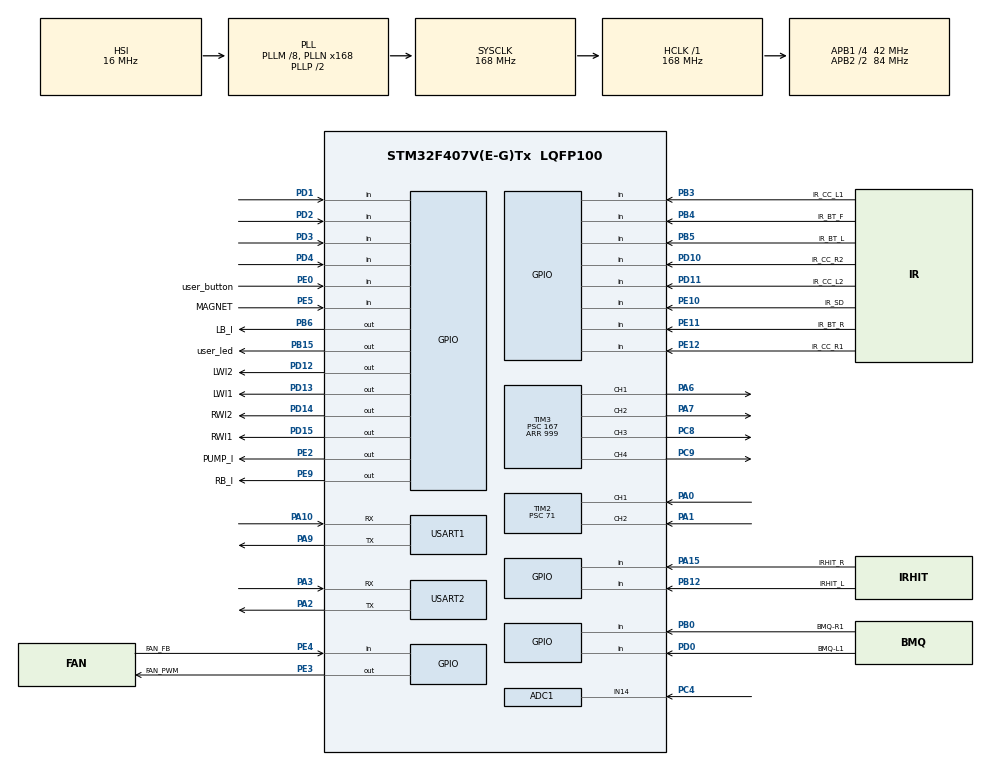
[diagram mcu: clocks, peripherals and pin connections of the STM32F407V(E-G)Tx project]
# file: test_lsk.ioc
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ADC1.Channel-0\#ChannelRegularConversion=ADC_CHANNEL_14
ADC1.ContinuousConvMode=ENABLE
ADC1.NbrOfConversionFlag=1
ADC1.Rank-0\#ChannelRegularConversion=1
ADC1.SamplingTime-0\#ChannelRegularConversion=ADC_SAMPLETIME_3CYCLES
ADC1.master=1
Dma.ADC1.0.Direction=DMA_PERIPH_TO_MEMORY
Dma.ADC1.0.FIFOMode=DMA_FIFOMODE_DISABLE
Dma.ADC1.0.Instance=DMA2_Stream0
Dma.ADC1.0.MemDataAlignment=DMA_MDATAALIGN_HALFWORD
Dma.ADC1.0.MemInc=DMA_MINC_ENABLE
Dma.ADC1.0.Mode=DMA_NORMAL
Dma.ADC1.0.PeriphDataAlignment=DMA_PDATAALIGN_HALFWORD
Dma.ADC1.0.PeriphInc=DMA_PINC_DISABLE
Dma.ADC1.0.Priority=DMA_PRIORITY_MEDIUM
Dma.Request0=ADC1
Dma.Request1=USART1_RX
Dma.Request2=USART1_TX
Dma.Request3=USART2_RX
Dma.Request4=USART2_TX
Dma.USART1_RX.1.Direction=DMA_PERIPH_TO_MEMORY
Dma.USART1_RX.1.FIFOMode=DMA_FIFOMODE_DISABLE
Dma.USART1_RX.1.Instance=DMA2_Stream2
Dma.USART1_RX.1.MemDataAlignment=DMA_MDATAALIGN_BYTE
Dma.USART1_RX.1.MemInc=DMA_MINC_ENABLE
Dma.USART1_RX.1.Mode=DMA_CIRCULAR
Dma.USART1_RX.1.PeriphDataAlignment=DMA_PDATAALIGN_BYTE
Dma.USART1_RX.1.PeriphInc=DMA_PINC_DISABLE
Dma.USART1_RX.1.Priority=DMA_PRIORITY_HIGH
Dma.USART1_TX.2.Direction=DMA_MEMORY_TO_PERIPH
Dma.USART1_TX.2.FIFOMode=DMA_FIFOMODE_DISABLE
Dma.USART1_TX.2.Instance=DMA2_Stream7
Dma.USART1_TX.2.MemDataAlignment=DMA_MDATAALIGN_BYTE
Dma.USART1_TX.2.MemInc=DMA_MINC_ENABLE
Dma.USART1_TX.2.Mode=DMA_CIRCULAR
Dma.USART1_TX.2.PeriphDataAlignment=DMA_PDATAALIGN_BYTE
Dma.USART1_TX.2.PeriphInc=DMA_PINC_DISABLE
Dma.USART1_TX.2.Priority=DMA_PRIORITY_HIGH
Dma.USART2_RX.3.Direction=DMA_PERIPH_TO_MEMORY
Dma.USART2_RX.3.FIFOMode=DMA_FIFOMODE_DISABLE
Dma.USART2_RX.3.Instance=DMA1_Stream5
Dma.USART2_RX.3.MemDataAlignment=DMA_MDATAALIGN_BYTE
Dma.USART2_RX.3.MemInc=DMA_MINC_ENABLE
Dma.USART2_RX.3.Mode=DMA_NORMAL
Dma.USART2_RX.3.PeriphDataAlignment=DMA_PDATAALIGN_BYTE
Dma.USART2_RX.3.PeriphInc=DMA_PINC_DISABLE
Dma.USART2_RX.3.Priority=DMA_PRIORITY_VERY_HIGH
Dma.USART2_TX.4.Direction=DMA_MEMORY_TO_PERIPH
Dma.USART2_TX.4.FIFOMode=DMA_FIFOMODE_DISABLE
Dma.USART2_TX.4.Instance=DMA1_Stream6
Dma.USART2_TX.4.MemDataAlignment=DMA_MDATAALIGN_BYTE
Dma.USART2_TX.4.MemInc=DMA_MINC_ENABLE
Dma.USART2_TX.4.Mode=DMA_NORMAL
Dma.USART2_TX.4.PeriphDataAlignment=DMA_PDATAALIGN_BYTE
Dma.USART2_TX.4.PeriphInc=DMA_PINC_DISABLE
Dma.USART2_TX.4.Priority=DMA_PRIORITY_VERY_HIGH
FREERTOS.Tasks01=defaultTask,0,128,StartDefaultTask,Default,NULL,Dynamic,NULL,NULL;Motor,2,512,Motor_Task,Default,NULL,Dynamic,NULL,NULL;IMU,3,512,IMU_Task,Default,NULL,Dynamic,NULL,NULL;Brush,0,128,Brush_Task,Default,NULL,Dynamic,NULL,NULL;Pump,0,128,Pump_Task,Default,NULL,Dynamic,NULL,NULL;Fan,0,128,Fan_Task,Default,NULL,Dynamic,NULL,NULL;Crash,2,128,Crash_Task,Default,NULL,Dynamic,NULL,NULL;Battery,1,128,Battery_Task,Default,NULL,Dynamic,NULL,NULL
Mcu.Family=STM32F4
Mcu.Name=STM32F407V(E-G)Tx
Mcu.Package=LQFP100
NVIC.ADC_IRQn=true\:5\:0\:false\:false\:true\:true\:true\:true\:true
NVIC.DMA1_Stream5_IRQn=true\:5\:0\:false\:false\:true\:true\:false\:true\:true
NVIC.DMA1_Stream6_IRQn=true\:5\:0\:false\:false\:true\:true\:false\:true\:true
NVIC.DMA2_Stream0_IRQn=true\:5\:0\:false\:false\:true\:true\:false\:true\:true
NVIC.DMA2_Stream2_IRQn=true\:5\:0\:false\:false\:true\:true\:false\:true\:true
NVIC.DMA2_Stream7_IRQn=true\:5\:0\:false\:false\:true\:true\:false\:true\:true
NVIC.PriorityGroup=NVIC_PRIORITYGROUP_4
NVIC.TIM1_UP_TIM10_IRQn=true\:15\:0\:false\:false\:true\:false\:false\:true\:true
NVIC.TIM2_IRQn=true\:5\:0\:false\:false\:true\:true\:true\:true\:true
NVIC.TIM3_IRQn=true\:5\:0\:false\:false\:true\:true\:true\:true\:true
NVIC.TimeBase=TIM1_UP_TIM10_IRQn
NVIC.TimeBaseIP=TIM1
NVIC.USART1_IRQn=true\:5\:0\:false\:false\:true\:true\:true\:true\:true
NVIC.USART2_IRQn=true\:5\:0\:false\:false\:true\:true\:true\:true\:true
PA0-WKUP.Signal=S_TIM2_CH1_ETR
PA1.Signal=S_TIM2_CH2
PA10.Mode=Asynchronous
PA10.Signal=USART1_RX
PA13.Mode=Serial_Wire
PA13.Signal=SYS_JTMS-SWDIO
PA14.Mode=Serial_Wire
PA14.Signal=SYS_JTCK-SWCLK
PA15.GPIO_Label=IRHIT_R
PA15.Signal=GPIO_Input
PA2.Mode=Asynchronous
PA2.Signal=USART2_TX
PA3.Mode=Asynchronous
PA3.Signal=USART2_RX
PA6.Signal=S_TIM3_CH1
PA7.Signal=S_TIM3_CH2
PA9.Mode=Asynchronous
PA9.Signal=USART1_TX
PB0.GPIO_Label=BMQ-R1
PB0.Signal=GPIO_Input
PB12.GPIO_Label=IRHIT_L
PB12.Signal=GPIO_Input
PB15.GPIO_Label=user_led
PB15.Signal=GPIO_Output
PB3.GPIO_Label=IR_CC_L1
PB3.Signal=GPIO_Input
PB4.GPIO_Label=IR_BT_F
PB4.Signal=GPIO_Input
PB5.GPIO_Label=IR_BT_L
PB5.Signal=GPIO_Input
PB6.GPIO_Label=LB_I
PB6.GPIO_Speed=GPIO_SPEED_FREQ_HIGH
PB6.Signal=GPIO_Output
PC4.Signal=ADCx_IN14
PC8.Signal=S_TIM3_CH3
PC9.Signal=S_TIM3_CH4
PD0.GPIO_Label=BMQ-L1
PD0.Signal=GPIO_Input
PD1.Signal=GPIO_Input
PD10.GPIO_Label=IR_CC_R2
PD10.GPIO_PuPd=GPIO_PULLUP
PD10.Signal=GPIO_Input
PD11.GPIO_Label=IR_CC_L2
PD11.GPIO_PuPd=GPIO_PULLUP
PD11.Signal=GPIO_Input
PD12.GPIO_Label=LWI2
PD12.GPIO_Speed=GPIO_SPEED_FREQ_HIGH
PD12.Signal=GPIO_Output
PD13.GPIO_Label=LWI1
PD13.GPIO_Speed=GPIO_SPEED_FREQ_HIGH
PD13.Signal=GPIO_Output
PD14.GPIO_Label=RWI2
PD14.GPIO_Speed=GPIO_SPEED_FREQ_HIGH
PD14.Signal=GPIO_Output
PD15.GPIO_Label=RWI1
PD15.GPIO_Speed=GPIO_SPEED_FREQ_HIGH
PD15.Signal=GPIO_Output
PD2.Signal=GPIO_Input
PD3.Signal=GPIO_Input
PD4.Signal=GPIO_Input
PE0.GPIO_Label=user_button
PE0.GPIO_PuPd=GPIO_PULLDOWN
PE0.Signal=GPIO_Input
PE10.GPIO_Label=IR_SD
PE10.Signal=GPIO_Input
PE11.GPIO_Label=IR_BT_R
PE11.Signal=GPIO_Input
PE12.GPIO_Label=IR_CC_R1
PE12.Signal=GPIO_Input
PE2.GPIO_Label=PUMP_I
PE2.GPIO_Speed=GPIO_SPEED_FREQ_HIGH
PE2.Signal=GPIO_Output
PE3.GPIO_Label=FAN_PWM
PE3.GPIO_Speed=GPIO_SPEED_FREQ_HIGH
PE3.Signal=GPIO_Output
PE4.GPIO_Label=FAN_FB
PE4.Signal=GPIO_Input
PE5.GPIO_Label=MAGNET
PE5.Signal=GPIO_Input
PE9.GPIO_Label=RB_I
PE9.GPIO_Speed=GPIO_SPEED_FREQ_HIGH
PE9.Signal=GPIO_Output
PH0-OSC_IN.Mode=HSE-External-Oscillator
PH0-OSC_IN.Signal=RCC_OSC_IN
PH1-OSC_OUT.Mode=HSE-External-Oscillator
PH1-OSC_OUT.Signal=RCC_OSC_OUT
ProjectManager.HeapSize=0x200
ProjectManager.StackSize=0x400
ProjectManager.TargetToolchain=MDK-ARM V5.32
RCC.48MHZClocksFreq_Value=84000000
RCC.AHBFreq_Value=168000000
RCC.APB1CLKDivider=RCC_HCLK_DIV4
RCC.APB1Freq_Value=42000000
RCC.APB1TimFreq_Value=84000000
RCC.APB2CLKDivider=RCC_HCLK_DIV2
RCC.APB2Freq_Value=84000000
RCC.APB2TimFreq_Value=168000000
RCC.CortexFreq_Value=168000000
RCC.HCLKFreq_Value=168000000
RCC.HSE_VALUE=25000000
RCC.HSI_VALUE=16000000
RCC.LSE_VALUE=32768
RCC.PLLM=8
RCC.PLLN=168
RCC.SYSCLKFreq_VALUE=168000000
RCC.SYSCLKSource=RCC_SYSCLKSOURCE_PLLCLK
RCC.VCOOutputFreq_Value=336000000
SH.ADCx_IN14.0=ADC1_IN14,IN14
SH.S_TIM2_CH1_ETR.0=TIM2_CH1,Input_Capture1_from_TI1
SH.S_TIM2_CH2.0=TIM2_CH2,Input_Capture2_from_TI2
SH.S_TIM3_CH1.0=TIM3_CH1,PWM Generation1 CH1
SH.S_TIM3_CH2.0=TIM3_CH2,PWM Generation2 CH2
SH.S_TIM3_CH3.0=TIM3_CH3,PWM Generation3 CH3
SH.S_TIM3_CH4.0=TIM3_CH4,PWM Generation4 CH4
TIM2.Channel-Input_Capture1_from_TI1=TIM_CHANNEL_1
TIM2.Channel-Input_Capture2_from_TI2=TIM_CHANNEL_2
TIM2.Prescaler=71
TIM3.Channel-PWM\ Generation1\ CH1=TIM_CHANNEL_1
TIM3.Channel-PWM\ Generation2\ CH2=TIM_CHANNEL_2
TIM3.Channel-PWM\ Generation3\ CH3=TIM_CHANNEL_3
TIM3.Channel-PWM\ Generation4\ CH4=TIM_CHANNEL_4
TIM3.Period=999
TIM3.Prescaler=167
TIM3.Pulse-PWM\ Generation1\ CH1=\t500
TIM3.Pulse-PWM\ Generation2\ CH2=\t500
TIM3.Pulse-PWM\ Generation3\ CH3=500
TIM3.Pulse-PWM\ Generation4\ CH4=\t500
USART1.VirtualMode=VM_ASYNC
USART2.VirtualMode=VM_ASYNC
VP_FREERTOS_VS_CMSIS_V1.Mode=CMSIS_V1
VP_SYS_VS_tim1.Mode=TIM1
VP_TIM2_VS_ClockSourceINT.Mode=Internal
VP_TIM3_VS_ClockSourceINT.Mode=Internal
board=custom

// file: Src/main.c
/* USER CODE BEGIN Header */
/**
  ******************************************************************************
  * @file           : main.c
  * @brief          : Main program body
  ******************************************************************************
  * @attention
  *
  * Copyright (c) 2025 STMicroelectronics.
  * All rights reserved.
  *
  * This software is licensed under terms that can be found in the LICENSE file
  * in the root directory of this software component.
  * If no LICENSE file comes with this software, it is provided AS-IS.
  *
  ******************************************************************************
  */
/* USER CODE END Header */
#include "main.h"
#include "cmsis_os.h"
#include "adc.h"
#include "dma.h"
#include "tim.h"
#include "usart.h"
#include "gpio.h"

/* USER CODE BEGIN Includes */
#include "atk_ms601m.h"
#include "atk_ms601m_uart.h"
#include "device_control.h"
#include "motor_control.h"
#include "fan_control.h"
#include "imu.h"
#include "cmsis_os.h"
#include <stdio.h>  //printf
#include "tim_callback.h"

/* USER CODE END Includes */

/* USER CODE BEGIN PV */
/* USER CODE BEGIN PV */
volatile uint32_t last_capture_ch1 = 0;
volatile uint32_t pulse_interval_ch1 = 0;
volatile float motor_speed_rps_ch1 = 0.0f;

volatile uint32_t last_capture_ch2 = 0;
volatile uint32_t pulse_interval_ch2 = 0;
volatile float motor_speed_rps_ch2 = 0.0f;
                  // 替换为你编码器实际脉冲数
/* USER CODE END PV */

void SystemClock_Config(void);
void MX_FREERTOS_Init(void);
/* USER CODE BEGIN PFP */
int fputc(int ch, FILE *f)//重构函数
{
    HAL_UART_Transmit(&huart2, (uint8_t *)&ch, 1, HAL_MAX_DELAY);
    return ch;
}
/* USER CODE END PFP */

/* USER CODE BEGIN 0 */
uint8_t rx_byte;

/* USER CODE END 0 */

int main(void)
{

  /* MCU Configuration--------------------------------------------------------*/

  /* Reset of all peripherals, Initializes the Flash interface and the Systick. */
  HAL_Init();

  /* USER CODE BEGIN Init */
	DWT_Init();
  /* USER CODE END Init */

  /* Configure the system clock */
  SystemClock_Config();

  /* Initialize all configured peripherals */
  MX_GPIO_Init();
  MX_DMA_Init();
  MX_TIM3_Init();
  MX_USART1_UART_Init();
  MX_USART2_UART_Init();
  MX_ADC1_Init();
  MX_TIM2_Init();
  /* USER CODE BEGIN 2 */
	printf("init complete\n");

	HAL_UART_Receive_IT(&huart1, &rx_byte, 1);
	HAL_GPIO_WritePin(user_led_GPIO_Port, user_led_Pin, GPIO_PIN_SET);
	USART2_UART_StartDMA();  // ����DMA����
	// 启动输入捕获中断
    HAL_TIM_IC_Start_IT(&htim2, TIM_CHANNEL_1);//左侧
		HAL_TIM_IC_Start_IT(&htim2, TIM_CHANNEL_2);//右侧
  /* USER CODE END 2 */

  /* Call init function for freertos objects (in cmsis_os2.c) */
  MX_FREERTOS_Init();

  /* Start scheduler */
  osKernelStart();

  /* We should never get here as control is now taken by the scheduler */

  /* Infinite loop */
  while (1)
  {

  }
}

void SystemClock_Config(void)
{
  RCC_OscInitTypeDef RCC_OscInitStruct = {0};
  RCC_ClkInitTypeDef RCC_ClkInitStruct = {0};

  /** Configure the main internal regulator output voltage
  */
  __HAL_RCC_PWR_CLK_ENABLE();
  __HAL_PWR_VOLTAGESCALING_CONFIG(PWR_REGULATOR_VOLTAGE_SCALE1);

  /** Initializes the RCC Oscillators according to the specified parameters
  * in the RCC_OscInitTypeDef structure.
  */
  RCC_OscInitStruct.OscillatorType = RCC_OSCILLATORTYPE_HSI;
  RCC_OscInitStruct.HSIState = RCC_HSI_ON;
  RCC_OscInitStruct.HSICalibrationValue = RCC_HSICALIBRATION_DEFAULT;
  RCC_OscInitStruct.PLL.PLLState = RCC_PLL_ON;
  RCC_OscInitStruct.PLL.PLLSource = RCC_PLLSOURCE_HSI;
  RCC_OscInitStruct.PLL.PLLM = 8;
  RCC_OscInitStruct.PLL.PLLN = 168;
  RCC_OscInitStruct.PLL.PLLP = RCC_PLLP_DIV2;
  RCC_OscInitStruct.PLL.PLLQ = 4;
  if (HAL_RCC_OscConfig(&RCC_OscInitStruct) != HAL_OK)
  {
    Error_Handler();
  }

  /** Initializes the CPU, AHB and APB buses clocks
  */
  RCC_ClkInitStruct.ClockType = RCC_CLOCKTYPE_HCLK|RCC_CLOCKTYPE_SYSCLK
                              |RCC_CLOCKTYPE_PCLK1|RCC_CLOCKTYPE_PCLK2;
  RCC_ClkInitStruct.SYSCLKSource = RCC_SYSCLKSOURCE_PLLCLK;
  RCC_ClkInitStruct.AHBCLKDivider = RCC_SYSCLK_DIV1;
  RCC_ClkInitStruct.APB1CLKDivider = RCC_HCLK_DIV4;
  RCC_ClkInitStruct.APB2CLKDivider = RCC_HCLK_DIV2;

  if (HAL_RCC_ClockConfig(&RCC_ClkInitStruct, FLASH_LATENCY_5) != HAL_OK)
  {
    Error_Handler();
  }
}

void HAL_TIM_PeriodElapsedCallback(TIM_HandleTypeDef *htim)
{
  if (htim->Instance == TIM1) {
    HAL_IncTick();
  }
}

void Error_Handler(void)
{
  /* USER CODE BEGIN Error_Handler_Debug */
  /* User can add his own implementation to report the HAL error return state */
  __disable_irq();
	printf("error");
  while (1)
  {
		HAL_GPIO_TogglePin(user_led_GPIO_Port, user_led_Pin);
        HAL_Delay(500); /* ����ʱ LED ��˸ */
  }
  /* USER CODE END Error_Handler_Debug */
}

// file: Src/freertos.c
/* USER CODE BEGIN Header */
/**
  ******************************************************************************
  * File Name          : freertos.c
  * Description        : Code for freertos applications
  ******************************************************************************
  * @attention
  *
  * Copyright (c) 2025 STMicroelectronics.
  * All rights reserved.
  *
  * This software is licensed under terms that can be found in the LICENSE file
  * in the root directory of this software component.
  * If no LICENSE file comes with this software, it is provided AS-IS.
  *
  ******************************************************************************
  */
/* USER CODE END Header */

#include "FreeRTOS.h"
#include "task.h"
#include "main.h"
#include "cmsis_os.h"

/* USER CODE BEGIN Includes */
#include "uart_send.h"
#define UART2_QUEUE_LEN 10
//extern osMessageQId uartQueueHandle;

/* USER CODE END Includes */

/* USER CODE BEGIN Variables */
//osThreadId UARTSendHandle;
// ������Ϣ���о����extern��
osMessageQId uart2_tx_queue;
/* USER CODE END Variables */
osThreadId defaultTaskHandle;
osThreadId MotorHandle;
osThreadId IMUHandle;
osThreadId BrushHandle;
osThreadId PumpHandle;
osThreadId FanHandle;
osThreadId CrashHandle;
osThreadId BatteryHandle;

/* USER CODE BEGIN FunctionPrototypes */
void uart2_tx_task(void const * argument);
//extern void UART_Send_Task(void const * argument);
/* USER CODE END FunctionPrototypes */

void StartDefaultTask(void const * argument);
void Motor_Task(void const * argument);
void IMU_Task(void const * argument);
void Brush_Task(void const * argument);
void Pump_Task(void const * argument);
void Fan_Task(void const * argument);
void Crash_Task(void const * argument);
void Battery_Task(void const * argument);

void MX_FREERTOS_Init(void); /* (MISRA C 2004 rule 8.1) */

/* GetIdleTaskMemory prototype (linked to static allocation support) */
void vApplicationGetIdleTaskMemory( StaticTask_t **ppxIdleTaskTCBBuffer, StackType_t **ppxIdleTaskStackBuffer, uint32_t *pulIdleTaskStackSize );

/* USER CODE BEGIN GET_IDLE_TASK_MEMORY */
static StaticTask_t xIdleTaskTCBBuffer;
static StackType_t xIdleStack[configMINIMAL_STACK_SIZE];

void vApplicationGetIdleTaskMemory( StaticTask_t **ppxIdleTaskTCBBuffer, StackType_t **ppxIdleTaskStackBuffer, uint32_t *pulIdleTaskStackSize )
{
  *ppxIdleTaskTCBBuffer = &xIdleTaskTCBBuffer;
  *ppxIdleTaskStackBuffer = &xIdleStack[0];
  *pulIdleTaskStackSize = configMINIMAL_STACK_SIZE;
  /* place for user code */
}
/* USER CODE END GET_IDLE_TASK_MEMORY */

void MX_FREERTOS_Init(void) {

  /* USER CODE BEGIN RTOS_QUEUES */
 /* --- ������Ϣ���� --- */
  osMessageQDef(uart2_tx_queue_def, UART2_QUEUE_LEN, uint32_t);
  uart2_tx_queue = osMessageCreate(osMessageQ(uart2_tx_queue_def), NULL);
  /* add queues, ... */
//	osMessageQDef(uartQueue, UART_QUEUE_LEN, uint32_t);
//	uartQueueHandle = osMessageCreate(osMessageQ(uartQueue), NULL);

  /* USER CODE END RTOS_QUEUES */

  /* Create the thread(s) */
  /* definition and creation of defaultTask */
  osThreadDef(defaultTask, StartDefaultTask, osPriorityNormal, 0, 128);
  defaultTaskHandle = osThreadCreate(osThread(defaultTask), NULL);

  /* definition and creation of Motor */
  osThreadDef(Motor, Motor_Task, osPriorityHigh, 0, 512);
  MotorHandle = osThreadCreate(osThread(Motor), NULL);

  /* definition and creation of IMU */
  osThreadDef(IMU, IMU_Task, osPriorityRealtime, 0, 512);
  IMUHandle = osThreadCreate(osThread(IMU), NULL);

  /* definition and creation of Brush */
  osThreadDef(Brush, Brush_Task, osPriorityNormal, 0, 128);
  BrushHandle = osThreadCreate(osThread(Brush), NULL);

  /* definition and creation of Pump */
  osThreadDef(Pump, Pump_Task, osPriorityNormal, 0, 128);
  PumpHandle = osThreadCreate(osThread(Pump), NULL);

  /* definition and creation of Fan */
  osThreadDef(Fan, Fan_Task, osPriorityNormal, 0, 128);
  FanHandle = osThreadCreate(osThread(Fan), NULL);

  /* definition and creation of Crash */
  osThreadDef(Crash, Crash_Task, osPriorityHigh, 0, 128);
  CrashHandle = osThreadCreate(osThread(Crash), NULL);

  /* definition and creation of Battery */
  osThreadDef(Battery, Battery_Task, osPriorityAboveNormal, 0, 128);
  BatteryHandle = osThreadCreate(osThread(Battery), NULL);

  /* USER CODE BEGIN RTOS_THREADS */
	  osThreadDef(uart2TxTask, uart2_tx_task, osPriorityNormal, 0, 512);
  osThreadCreate(osThread(uart2TxTask), NULL);
  /* add threads, ... */
//	osThreadDef(UARTSend, UART_Send_Task, osPriorityNormal, 0, 512);
//	UARTSendHandle = osThreadCreate(osThread(UARTSend), NULL);

  /* USER CODE END RTOS_THREADS */

}

void StartDefaultTask(void const * argument)
{
  for(;;)
  {
    osDelay(1);
  }
}

//void Motor_Task(void const * argument)
//{
//  /* USER CODE BEGIN Motor_Task */
////////  /* Infinite loop */
////////  for(;;)
////////  {
////////    osDelay(1);
////////  }
//  /* USER CODE END Motor_Task */
//}

//void IMU_Task(void const * argument)
//{
//  /* USER CODE BEGIN IMU_Task */
////////  /* Infinite loop */
////////  for(;;)
////////  {
////////    osDelay(1);
////////  }
//  /* USER CODE END IMU_Task */
//}

//void Brush_Task(void const * argument)
//{
//  /* USER CODE BEGIN Brush_Task */
////////  /* Infinite loop */
////////  for(;;)
////////  {
////////    osDelay(1);
////////  }
//  /* USER CODE END Brush_Task */
//}

/* USER CODE BEGIN Header_Pump_Task */
///* USER CODE END Header_Pump_Task */
//void Pump_Task(void const * argument)
//{
//  /* USER CODE BEGIN Pump_Task */
////////  /* Infinite loop */
////////  for(;;)
////////  {
////////    osDelay(1);
////////  }
//  /* USER CODE END Pump_Task */
//}

/* USER CODE BEGIN Header_Fan_Task */

///* USER CODE END Header_Fan_Task */
//void Fan_Task(void const * argument)
//{
//  /* USER CODE BEGIN Fan_Task */
////////  /* Infinite loop */
////////  for(;;)
////////  {
////////    osDelay(1);
////////  }
//  /* USER CODE END Fan_Task */
//}

//void Crash_Task(void const * argument)
//{
//  /* USER CODE BEGIN Crash_Task */
//  /* Infinite loop */
//  for(;;)
//  {
//    osDelay(1);
//  }
//  /* USER CODE END Crash_Task */
//}

//void Battery_Task(void const * argument)
//{
//  /* USER CODE BEGIN Battery_Task */
//////  /* Infinite loop */
//////  for(;;)
//////  {
//////    osDelay(1);
//////  }
//  /* USER CODE END Battery_Task */
//}
